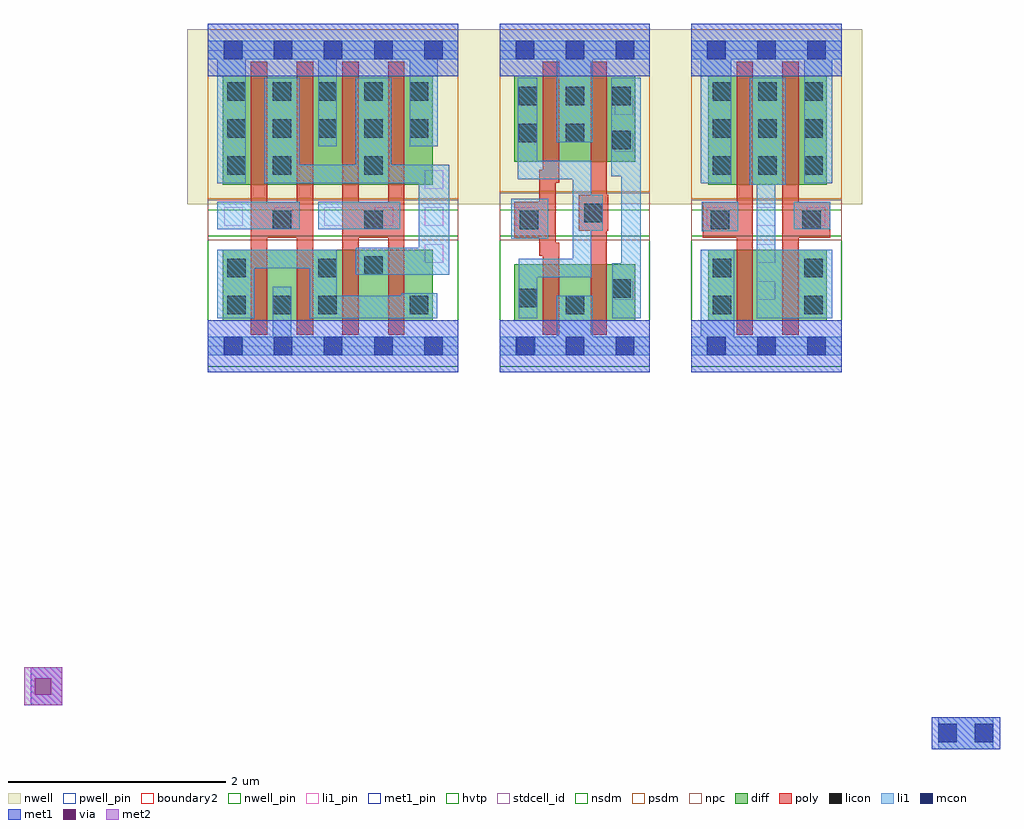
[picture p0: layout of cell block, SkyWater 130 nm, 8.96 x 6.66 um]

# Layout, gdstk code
import gdstk
lib = gdstk.Library(unit=1e-6, precision=1e-09)
def R(c, l, rs):  # rectangles x0, y0, x1, y1
    for r in rs: c.add(gdstk.rectangle(r[:2], r[2:], *l))
def A(c, l, x, y, w, h, nx, ny, dx, dy):  # array of equal rectangles
    R(c, l, [(x+i*dx, y+j*dy, x+i*dx+w, y+j*dy+h) for i in range(nx) for j in range(ny)])
def P(c, l, *ps):  # polygons
    for p in ps: c.add(gdstk.Polygon(p, *l))
nwell_pin = (64, 16)
nwell = (64, 20)
diff = (65, 20)
poly = (66, 20)
licon = (66, 44)
li1_pin = (67, 16)
li1 = (67, 20)
mcon = (67, 44)
met1_pin = (68, 16)
met1 = (68, 20)
via = (68, 44)
met2 = (69, 20)
hvtp = (78, 44)
stdcell_id = (81, 4)
nsdm = (93, 44)
psdm = (94, 20)
npc = (95, 20)
pwell_pin = (122, 16)
boundary2 = (236, 0)

sky130_fd_sc_hd__nand2_2 = lib.new_cell('sky130_fd_sc_hd__nand2_2')
R(sky130_fd_sc_hd__nand2_2, nwell_pin, [(0.15,2.635,0.32,2.805)])
R(sky130_fd_sc_hd__nand2_2, nwell, [(-0.19,1.305,2.49,2.91)])
R(sky130_fd_sc_hd__nand2_2, diff, [(0.135,0.235,2.065,0.885), (0.135,1.485,2.065,2.485)])
P(sky130_fd_sc_hd__nand2_2, poly, [(1.235,0.105),(1.235,2.615),(1.385,2.615),(1.385,1.325),(1.655,1.325),(1.655,2.615),(1.805,2.615),(1.805,0.105),(1.655,0.105),(1.655,0.995),(1.385,0.995),(1.385,0.105)],
  [(0.395,0.105),(0.395,2.615),(0.545,2.615),(0.545,1.325),(0.815,1.325),(0.815,2.615),(0.965,2.615),(0.965,0.105),(0.815,0.105),(0.815,0.995),(0.545,0.995),(0.545,0.105)])
A(sky130_fd_sc_hd__nand2_2, licon, 0.175, 0.295, 0.17, 0.17, 3, 1, 0.42, 0)
A(sky130_fd_sc_hd__nand2_2, licon, 0.175, 1.915, 0.17, 0.17, 5, 2, 0.42, 0.34)
R(sky130_fd_sc_hd__nand2_2, licon, [(1.855,0.295,2.025,0.465), (0.175,0.635,0.345,0.805), (1.015,0.635,1.185,0.805), (1.435,0.655,1.605,0.825), (0.595,1.075,0.765,1.245), (1.435,1.075,1.605,1.245), (0.175,1.575,0.345,1.745), (0.595,1.575,0.765,1.745), (1.435,1.575,1.605,1.745)])
A(sky130_fd_sc_hd__nand2_2, li1_pin, 0.15, 1.105, 0.17, 0.17, 5, 1, 0.46, 0)
R(sky130_fd_sc_hd__nand2_2, li1_pin, [(1.99,0.765,2.16,0.935), (1.99,1.445,2.16,1.615)])
R(sky130_fd_sc_hd__nand2_2, li1, [(0.085,1.075,0.845,1.325), (1.015,1.075,1.765,1.325)])
P(sky130_fd_sc_hd__nand2_2, li1, [(0,-0.085),(0,0.085),(0.595,0.085),(0.595,0.545),(0.765,0.545),(0.765,0.085),(2.3,0.085),(2.3,-0.085)],
  [(0.085,1.495),(0.085,2.635),(0,2.635),(0,2.805),(2.3,2.805),(2.3,2.635),(2.11,2.635),(2.11,1.835),(1.855,1.835),(1.855,2.635),(1.185,2.635),(1.185,1.835),(1.015,1.835),(1.015,2.635),(0.345,2.635),(0.345,1.495)],
  [(0.085,0.255),(0.085,0.885),(1.185,0.885),(1.185,0.465),(1.775,0.465),(1.775,0.485),(2.105,0.485),(2.105,0.255),(0.935,0.255),(0.935,0.715),(0.425,0.715),(0.425,0.255)],
  [(1.355,0.655),(1.355,0.905),(1.935,0.905),(1.935,1.495),(0.515,1.495),(0.515,2.465),(0.845,2.465),(0.845,1.665),(1.355,1.665),(1.355,2.465),(1.685,2.465),(1.685,1.665),(2.215,1.665),(2.215,0.655)])
A(sky130_fd_sc_hd__nand2_2, mcon, 0.145, -0.085, 0.17, 0.17, 5, 2, 0.46, 2.72)
R(sky130_fd_sc_hd__nand2_2, met1_pin, [(0.15,-0.085,0.32,0.085), (0.15,2.635,0.32,2.805)])
R(sky130_fd_sc_hd__nand2_2, hvtp, [(0,1.25,2.3,2.72)])
R(sky130_fd_sc_hd__nand2_2, stdcell_id, [(0,0,2.3,2.72)])
R(sky130_fd_sc_hd__nand2_2, nsdm, [(0,-0.19,2.3,1.015)])
R(sky130_fd_sc_hd__nand2_2, psdm, [(0,1.355,2.3,2.91)])
R(sky130_fd_sc_hd__nand2_2, npc, [(0,0.975,2.3,1.345)])
R(sky130_fd_sc_hd__nand2_2, pwell_pin, [(0.15,-0.085,0.32,0.085)])
R(sky130_fd_sc_hd__nand2_2, boundary2, [(0,0,2.3,2.72)])
sky130_fd_sc_hd__nand2_2.add(gdstk.FlexPath([(0,2.72),(2.3,2.72)], 0.48, ends="flush", simple_path=True, layer=68, datatype=20))  # met1
sky130_fd_sc_hd__nand2_2.add(gdstk.FlexPath([(0,0),(2.3,0)], 0.48, ends="flush", simple_path=True, layer=68, datatype=20))  # met1
sky130_fd_sc_hd__nand2_2.add(gdstk.Label('Y', (2.075,0.85), layer=67, texttype=5))
sky130_fd_sc_hd__nand2_2.add(gdstk.Label('Y', (2.075,1.19), layer=67, texttype=5))
sky130_fd_sc_hd__nand2_2.add(gdstk.Label('Y', (2.075,1.53), layer=67, texttype=5))
sky130_fd_sc_hd__nand2_2.add(gdstk.Label('A', (1.615,1.19), layer=67, texttype=5))
sky130_fd_sc_hd__nand2_2.add(gdstk.Label('B', (0.695,1.19), layer=67, texttype=5))
sky130_fd_sc_hd__nand2_2.add(gdstk.Label('VPB', (0.23,2.72), layer=64, texttype=5))
sky130_fd_sc_hd__nand2_2.add(gdstk.Label('VNB', (0.23,0), layer=64, texttype=59))
sky130_fd_sc_hd__nand2_2.add(gdstk.Label('VGND', (0.23,0), layer=68, texttype=5))
sky130_fd_sc_hd__nand2_2.add(gdstk.Label('VPWR', (0.23,2.72), layer=68, texttype=5))
sky130_fd_sc_hd__nand2_2.add(gdstk.Label('nand2_2', (0,0), layer=83, texttype=44))

sky130_fd_sc_hd__buf_1 = lib.new_cell('sky130_fd_sc_hd__buf_1')
R(sky130_fd_sc_hd__buf_1, nwell_pin, [(0.145,2.635,0.315,2.805)])
R(sky130_fd_sc_hd__buf_1, nwell, [(-0.19,1.305,1.57,2.91)])
R(sky130_fd_sc_hd__buf_1, diff, [(0.135,0.235,1.245,0.755), (0.135,1.695,1.245,2.485)])
P(sky130_fd_sc_hd__buf_1, poly, [(0.835,0.105),(0.835,1.06),(0.725,1.06),(0.725,1.39),(0.835,1.39),(0.835,2.615),(0.985,2.615),(0.985,1.39),(0.995,1.39),(0.995,1.06),(0.985,1.06),(0.985,0.105)],
  [(0.395,0.105),(0.395,0.83),(0.365,0.83),(0.365,0.995),(0.135,0.995),(0.135,1.325),(0.365,1.325),(0.365,1.62),(0.395,1.62),(0.395,2.615),(0.545,2.615),(0.545,1.5),(0.515,1.5),(0.515,0.95),(0.545,0.95),(0.545,0.105)])
A(sky130_fd_sc_hd__buf_1, licon, 0.175, 2.215, 0.17, 0.17, 3, 1, 0.43, 0)
R(sky130_fd_sc_hd__buf_1, licon, [(0.605,0.295,0.775,0.465), (0.175,0.36,0.345,0.53), (1.035,0.445,1.205,0.615), (0.185,1.075,0.355,1.245), (0.775,1.14,0.945,1.31), (1.035,1.81,1.205,1.98), (0.175,1.875,0.345,2.045), (0.605,1.875,0.775,2.045)])
R(sky130_fd_sc_hd__buf_1, li1_pin, [(0.155,-0.085,0.325,0.085), (1.055,0.425,1.225,0.595), (0.145,1.105,0.315,1.275), (1.055,1.785,1.225,1.955), (1.055,2.125,1.225,2.295), (0.145,2.635,0.315,2.805)])
R(sky130_fd_sc_hd__buf_1, li1, [(0.105,0.985,0.445,1.355)])
P(sky130_fd_sc_hd__buf_1, li1, [(1.035,0.255),(1.035,0.76),(1.115,0.76),(1.115,1.56),(1.025,1.56),(1.025,2.465),(1.295,2.465),(1.295,0.255)],
  [(0,-0.085),(0,0.085),(0.525,0.085),(0.525,0.465),(0.855,0.465),(0.855,0.085),(1.38,0.085),(1.38,-0.085)],
  [(0.175,0.255),(0.175,0.805),(0.67,0.805),(0.67,1.535),(0.165,1.535),(0.165,2.465),(0.345,2.465),(0.345,1.705),(0.84,1.705),(0.84,1.39),(0.945,1.39),(0.945,1.06),(0.84,1.06),(0.84,0.635),(0.345,0.635),(0.345,0.255)],
  [(0.525,1.875),(0.525,2.635),(0,2.635),(0,2.805),(1.38,2.805),(1.38,2.635),(0.855,2.635),(0.855,1.875)])
A(sky130_fd_sc_hd__buf_1, mcon, 0.145, -0.085, 0.17, 0.17, 3, 2, 0.46, 2.72)
R(sky130_fd_sc_hd__buf_1, met1_pin, [(0.155,-0.085,0.325,0.085), (0.145,2.635,0.315,2.805)])
R(sky130_fd_sc_hd__buf_1, hvtp, [(0,1.25,1.38,2.72)])
R(sky130_fd_sc_hd__buf_1, stdcell_id, [(0,0,1.38,2.72)])
R(sky130_fd_sc_hd__buf_1, nsdm, [(0,-0.19,1.38,1.015)])
R(sky130_fd_sc_hd__buf_1, psdm, [(0,1.42,1.38,2.91)])
R(sky130_fd_sc_hd__buf_1, npc, [(0,0.975,1.38,1.41)])
R(sky130_fd_sc_hd__buf_1, pwell_pin, [(0.155,-0.085,0.325,0.085)])
R(sky130_fd_sc_hd__buf_1, boundary2, [(0,0,1.38,2.72)])
sky130_fd_sc_hd__buf_1.add(gdstk.FlexPath([(0,0),(1.38,0)], 0.48, ends="flush", simple_path=True, layer=68, datatype=20))  # met1
sky130_fd_sc_hd__buf_1.add(gdstk.FlexPath([(0,2.72),(1.38,2.72)], 0.48, ends="flush", simple_path=True, layer=68, datatype=20))  # met1
sky130_fd_sc_hd__buf_1.add(gdstk.Label('VPWR', (0.23,2.72), layer=67, texttype=5))
sky130_fd_sc_hd__buf_1.add(gdstk.Label('VGND', (0.23,0), layer=67, texttype=5))
sky130_fd_sc_hd__buf_1.add(gdstk.Label('X', (1.14,0.51), layer=67, texttype=5))
sky130_fd_sc_hd__buf_1.add(gdstk.Label('X', (1.14,1.87), layer=67, texttype=5))
sky130_fd_sc_hd__buf_1.add(gdstk.Label('X', (1.14,2.21), layer=67, texttype=5))
sky130_fd_sc_hd__buf_1.add(gdstk.Label('A', (0.23,1.19), layer=67, texttype=5))
sky130_fd_sc_hd__buf_1.add(gdstk.Label('VPB', (0.23,2.72), layer=64, texttype=5))
sky130_fd_sc_hd__buf_1.add(gdstk.Label('VNB', (0.23,0), layer=64, texttype=59))
sky130_fd_sc_hd__buf_1.add(gdstk.Label('VGND', (0.23,0), layer=68, texttype=5))
sky130_fd_sc_hd__buf_1.add(gdstk.Label('VPWR', (0.23,2.72), layer=68, texttype=5))
sky130_fd_sc_hd__buf_1.add(gdstk.Label('buf_1', (0,0), layer=83, texttype=44))

sky130_fd_sc_hd__nand2_1 = lib.new_cell('sky130_fd_sc_hd__nand2_1')
R(sky130_fd_sc_hd__nand2_1, nwell_pin, [(0.14,2.635,0.31,2.805)])
R(sky130_fd_sc_hd__nand2_1, nwell, [(-0.19,1.305,1.57,2.91)])
R(sky130_fd_sc_hd__nand2_1, diff, [(0.155,0.235,1.245,0.885), (0.155,1.485,1.245,2.485)])
P(sky130_fd_sc_hd__nand2_1, poly, [(0.835,0.105),(0.835,2.615),(0.985,2.615),(0.985,1.325),(1.275,1.325),(1.275,0.995),(0.985,0.995),(0.985,0.105)],
  [(0.415,0.105),(0.415,0.995),(0.105,0.995),(0.105,1.325),(0.415,1.325),(0.415,2.615),(0.565,2.615),(0.565,0.105)])
A(sky130_fd_sc_hd__nand2_1, licon, 0.195, 1.575, 0.17, 0.17, 3, 3, 0.42, 0.34)
R(sky130_fd_sc_hd__nand2_1, licon, [(0.195,0.295,0.365,0.465), (1.035,0.295,1.205,0.465), (0.195,0.635,0.365,0.805), (1.035,0.635,1.205,0.805), (0.18,1.075,0.35,1.245), (1.02,1.075,1.19,1.245)])
A(sky130_fd_sc_hd__nand2_1, li1_pin, 0.14, 1.105, 0.17, 0.17, 3, 1, 0.46, 0)
R(sky130_fd_sc_hd__nand2_1, li1_pin, [(0.6,0.425,0.77,0.595), (0.6,0.765,0.77,0.935)])
R(sky130_fd_sc_hd__nand2_1, li1, [(0.095,1.055,0.43,1.325), (0.94,1.075,1.275,1.325)])
P(sky130_fd_sc_hd__nand2_1, li1, [(0,-0.085),(0,0.085),(0.085,0.085),(0.085,0.885),(0.395,0.885),(0.395,0.085),(1.38,0.085),(1.38,-0.085)],
  [(0.085,1.495),(0.085,2.635),(0,2.635),(0,2.805),(1.38,2.805),(1.38,2.635),(1.295,2.635),(1.295,1.495),(1.035,1.495),(1.035,2.635),(0.365,2.635),(0.365,1.495)],
  [(0.6,0.255),(0.6,1.485),(0.535,1.485),(0.535,2.465),(0.865,2.465),(0.865,1.485),(0.77,1.485),(0.77,0.885),(1.295,0.885),(1.295,0.255)])
A(sky130_fd_sc_hd__nand2_1, mcon, 0.145, -0.085, 0.17, 0.17, 3, 2, 0.46, 2.72)
R(sky130_fd_sc_hd__nand2_1, met1_pin, [(0.14,-0.085,0.31,0.085), (0.14,2.635,0.31,2.805)])
R(sky130_fd_sc_hd__nand2_1, hvtp, [(0,1.25,1.38,2.72)])
R(sky130_fd_sc_hd__nand2_1, stdcell_id, [(0,0,1.38,2.72)])
R(sky130_fd_sc_hd__nand2_1, nsdm, [(0,-0.19,1.38,1.015)])
R(sky130_fd_sc_hd__nand2_1, psdm, [(0,1.355,1.38,2.91)])
R(sky130_fd_sc_hd__nand2_1, npc, [(0,0.975,1.38,1.345)])
R(sky130_fd_sc_hd__nand2_1, pwell_pin, [(0.14,-0.085,0.31,0.085)])
R(sky130_fd_sc_hd__nand2_1, boundary2, [(0,0,1.38,2.72)])
sky130_fd_sc_hd__nand2_1.add(gdstk.FlexPath([(0,2.72),(1.38,2.72)], 0.48, ends="flush", simple_path=True, layer=68, datatype=20))  # met1
sky130_fd_sc_hd__nand2_1.add(gdstk.FlexPath([(0,0),(1.38,0)], 0.48, ends="flush", simple_path=True, layer=68, datatype=20))  # met1
sky130_fd_sc_hd__nand2_1.add(gdstk.Label('Y', (0.685,0.51), layer=67, texttype=5))
sky130_fd_sc_hd__nand2_1.add(gdstk.Label('Y', (0.685,0.85), layer=67, texttype=5))
sky130_fd_sc_hd__nand2_1.add(gdstk.Label('Y', (0.685,1.19), layer=67, texttype=5))
sky130_fd_sc_hd__nand2_1.add(gdstk.Label('B', (0.225,1.19), layer=67, texttype=5))
sky130_fd_sc_hd__nand2_1.add(gdstk.Label('A', (1.145,1.19), layer=67, texttype=5))
sky130_fd_sc_hd__nand2_1.add(gdstk.Label('VPB', (0.225,2.72), layer=64, texttype=5))
sky130_fd_sc_hd__nand2_1.add(gdstk.Label('VNB', (0.225,0), layer=64, texttype=59))
sky130_fd_sc_hd__nand2_1.add(gdstk.Label('VGND', (0.23,0), layer=68, texttype=5))
sky130_fd_sc_hd__nand2_1.add(gdstk.Label('VPWR', (0.225,2.72), layer=68, texttype=5))
sky130_fd_sc_hd__nand2_1.add(gdstk.Label('nand2_1', (0,0), layer=83, texttype=44))

block = lib.new_cell('block')
R(block, li1, [(6.71,-3.7,7.215,-3.41)])
R(block, mcon, [(6.71,-3.64,6.88,-3.47), (7.045,-3.64,7.215,-3.47)])
R(block, met1, [(6.65,-3.7,7.275,-3.41), (-1.63,-3.3,-1.34,-2.95)])
R(block, via, [(-1.59,-3.2,-1.44,-3.05)])
R(block, met2, [(-1.69,-3.3,-1.34,-2.95)])
block.add(gdstk.Reference(sky130_fd_sc_hd__nand2_2, (0,0)))
block.add(gdstk.Reference(sky130_fd_sc_hd__buf_1, (2.68,0)))
block.add(gdstk.Reference(sky130_fd_sc_hd__nand2_1, (4.44,0)))

lib.write_gds('block.gds')
